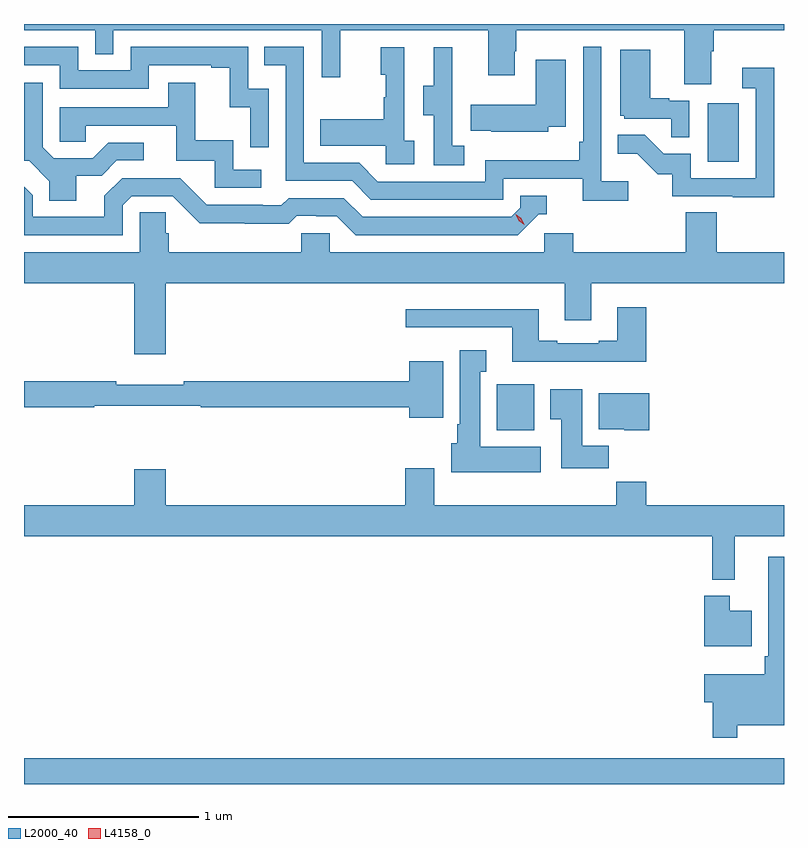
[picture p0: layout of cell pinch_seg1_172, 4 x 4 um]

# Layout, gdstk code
import gdstk
lib = gdstk.Library(unit=1e-6, precision=1e-09)
def R(c, l, rs):  # rectangles x0, y0, x1, y1
    for r in rs: c.add(gdstk.rectangle(r[:2], r[2:], *l))
def P(c, l, *ps):  # polygons
    for p in ps: c.add(gdstk.Polygon(p, *l))
L2000_40 = (2000, 40)
L4158_0 = (4158, 0)

pinch_seg1_172 = lib.new_cell('pinch_seg1_172')
R(pinch_seg1_172, L2000_40, [(1111.479,549.096,1115.479,549.232), (1113.968,550.958,1114.165,551.2), (1115.078,552.372,1115.242,552.679)])
P(pinch_seg1_172, L2000_40, [(1115.095,552.952),(1115.108,552.952),(1115.108,553.064),(1115.479,553.064),(1115.479,553.096),(1111.479,553.096),(1111.479,553.064),(1111.854,553.064),(1111.854,552.937),(1111.95,552.937),(1111.95,553.064),(1113.045,553.064),(1113.045,552.816),(1113.143,552.816),(1113.143,553.064),(1113.923,553.064),(1113.923,552.825),(1114.063,552.825),(1114.063,552.953),(1114.071,552.953),(1114.071,553.064),(1114.955,553.064),(1114.955,552.778),(1115.095,552.778)],
  [(1114.66,552.268),(1114.518,552.268),(1114.518,552.976),(1114.422,552.976),(1114.422,552.475),(1114.402,552.475),(1114.402,552.379),(1113.906,552.379),(1113.906,552.267),(1113.342,552.267),(1113.243,552.366),(1112.952,552.366),(1112.952,552.975),(1112.743,552.975),(1112.743,552.879),(1112.856,552.879),(1112.856,552.27),(1113.206,552.27),(1113.305,552.171),(1114.002,552.171),(1114.002,552.282),(1114.421,552.282),(1114.421,552.166),(1114.66,552.166)],
  [(1112.766,552.756),(1112.658,552.756),(1112.658,552.975),(1112.04,552.975),(1112.04,552.852),(1111.764,552.852),(1111.764,552.975),(1111.479,552.975),(1111.479,552.879),(1111.668,552.879),(1111.668,552.756),(1112.136,552.756),(1112.136,552.879),(1112.465,552.879),(1112.465,552.867),(1112.561,552.867),(1112.561,552.659),(1112.67,552.659),(1112.67,552.447),(1112.766,552.447)],
  [(1113.532,552.482),(1113.48,552.482),(1113.48,552.973),(1113.356,552.973),(1113.356,552.828),(1113.382,552.828),(1113.382,552.71),(1113.372,552.71),(1113.372,552.595),(1113.037,552.595),(1113.037,552.455),(1113.384,552.455),(1113.384,552.357),(1113.532,552.357)],
  [(1113.796,552.455),(1113.732,552.455),(1113.732,552.759),(1113.734,552.759),(1113.734,552.973),(1113.635,552.973),(1113.635,552.771),(1113.581,552.771),(1113.581,552.616),(1113.636,552.616),(1113.636,552.352),(1113.796,552.352)],
  [(1114.98,552.693),(1114.874,552.693),(1114.874,552.706),(1114.774,552.706),(1114.774,552.961),(1114.616,552.961),(1114.616,552.612),(1114.638,552.612),(1114.638,552.597),(1114.885,552.597),(1114.885,552.499),(1114.98,552.499)],
  [(1114.239,552.554),(1114.33,552.554),(1114.33,552.907),(1114.172,552.907),(1114.172,552.67),(1113.829,552.67),(1113.829,552.533),(1113.937,552.533),(1113.937,552.53),(1114.239,552.53)],
  [(1115.427,552.865),(1115.259,552.865),(1115.259,552.759),(1115.331,552.759),(1115.331,552.285),(1114.989,552.285),(1114.989,552.414),(1114.845,552.414),(1114.747,552.512),(1114.603,552.512),(1114.603,552.413),(1114.707,552.413),(1114.814,552.306),(1114.891,552.306),(1114.891,552.189),(1115.209,552.189),(1115.209,552.184),(1115.427,552.184)],
  [(1111.753,552.298),(1111.888,552.298),(1111.968,552.378),(1112.11,552.378),(1112.11,552.471),(1111.922,552.471),(1111.841,552.39),(1111.635,552.39),(1111.578,552.447),(1111.578,552.787),(1111.481,552.787),(1111.481,552.484),(1111.479,552.484),(1111.479,552.375),(1111.506,552.375),(1111.613,552.268),(1111.613,552.166),(1111.753,552.166)],
  [(1112.728,552.33),(1112.58,552.33),(1112.58,552.484),(1112.381,552.484),(1112.381,552.787),(1112.237,552.787),(1112.237,552.657),(1111.668,552.657),(1111.668,552.477),(1111.805,552.477),(1111.805,552.561),(1112.279,552.561),(1112.279,552.375),(1112.484,552.375),(1112.484,552.234),(1112.728,552.234)],
  [(1111.998,552.141),(1112.046,552.189),(1112.262,552.189),(1112.404,552.047),(1112.64,552.047),(1112.64,552.045),(1112.873,552.045),(1112.915,552.087),(1113.018,552.087),(1113.018,552.084),(1113.125,552.084),(1113.224,551.985),(1114.077,551.985),(1114.188,552.096),(1114.231,552.096),(1114.231,552.192),(1114.092,552.192),(1114.092,552.129),(1114.044,552.081),(1113.261,552.081),(1113.162,552.18),(1112.873,552.18),(1112.834,552.141),(1112.735,552.141),(1112.735,552.144),(1112.442,552.144),(1112.301,552.285),(1111.995,552.285),(1111.901,552.191),(1111.901,552.081),(1111.524,552.081),(1111.524,552.195),(1111.479,552.24),(1111.479,551.985),(1111.998,551.985)],
  [(1112.224,551.732),(1114.325,551.732),(1114.325,551.538),(1114.465,551.538),(1114.465,551.732),(1115.479,551.732),(1115.479,551.896),(1115.126,551.896),(1115.126,552.104),(1114.961,552.104),(1114.961,551.896),(1114.37,551.896),(1114.37,551.994),(1114.218,551.994),(1114.218,551.896),(1113.087,551.896),(1113.087,551.994),(1112.937,551.994),(1112.937,551.896),(1112.24,551.896),(1112.24,551.994),(1112.225,551.994),(1112.225,552.104),(1112.088,552.104),(1112.088,551.896),(1111.479,551.896),(1111.479,551.732),(1112.06,551.732),(1112.06,551.358),(1112.224,551.358)],
  [(1114.754,551.605),(1114.601,551.605),(1114.601,551.428),(1114.505,551.428),(1114.505,551.415),(1114.285,551.415),(1114.285,551.428),(1114.189,551.428),(1114.189,551.596),(1113.489,551.596),(1113.489,551.499),(1114.049,551.499),(1114.049,551.318),(1114.754,551.318)],
  [(1114.198,550.87),(1113.88,550.87),(1113.88,551.267),(1113.913,551.267),(1113.913,551.38),(1113.773,551.38),(1113.773,550.99),(1113.758,550.99),(1113.758,550.89),(1113.728,550.89),(1113.728,550.736),(1114.198,550.736)],
  [(1113.685,551.32),(1113.506,551.32),(1113.506,551.216),(1112.32,551.216),(1112.32,551.197),(1111.964,551.197),(1111.964,551.216),(1111.479,551.216),(1111.479,551.08),(1111.85,551.08),(1111.85,551.088),(1112.41,551.088),(1112.41,551.08),(1113.506,551.08),(1113.506,551.024),(1113.685,551.024)],
  [(1114.556,550.876),(1114.417,550.876),(1114.417,551.173),(1114.25,551.173),(1114.25,551.017),(1114.307,551.017),(1114.307,550.758),(1114.556,550.758)],
  [(1114.769,551.152),(1114.505,551.152),(1114.505,550.964),(1114.638,550.964),(1114.638,550.958),(1114.769,550.958)],
  [(1115.219,550.4),(1115.479,550.4),(1115.479,550.564),(1114.754,550.564),(1114.754,550.688),(1114.597,550.688),(1114.597,550.564),(1113.637,550.564),(1113.637,550.759),(1113.485,550.759),(1113.485,550.564),(1112.224,550.564),(1112.224,550.753),(1112.06,550.753),(1112.06,550.564),(1111.479,550.564),(1111.479,550.4),(1115.101,550.4),(1115.101,550.172),(1115.219,550.172)],
  [(1115.233,549.404),(1115.479,549.404),(1115.479,550.291),(1115.397,550.291),(1115.397,549.769),(1115.377,549.769),(1115.377,549.673),(1115.06,549.673),(1115.06,549.526),(1115.104,549.526),(1115.104,549.339),(1115.233,549.339)],
  [(1115.308,550.009),(1115.194,550.009),(1115.194,550.087),(1115.06,550.087),(1115.06,549.821),(1115.308,549.821)])
P(pinch_seg1_172, L4158_0, [(1114.112,552.04),(1114.082,552.061),(1114.066,552.094),(1114.066,552.094),(1114.067,552.094),(1114.097,552.074),(1114.112,552.041),(1114.112,552.04)])

lib.write_gds('pinch_seg1_172.gds')
